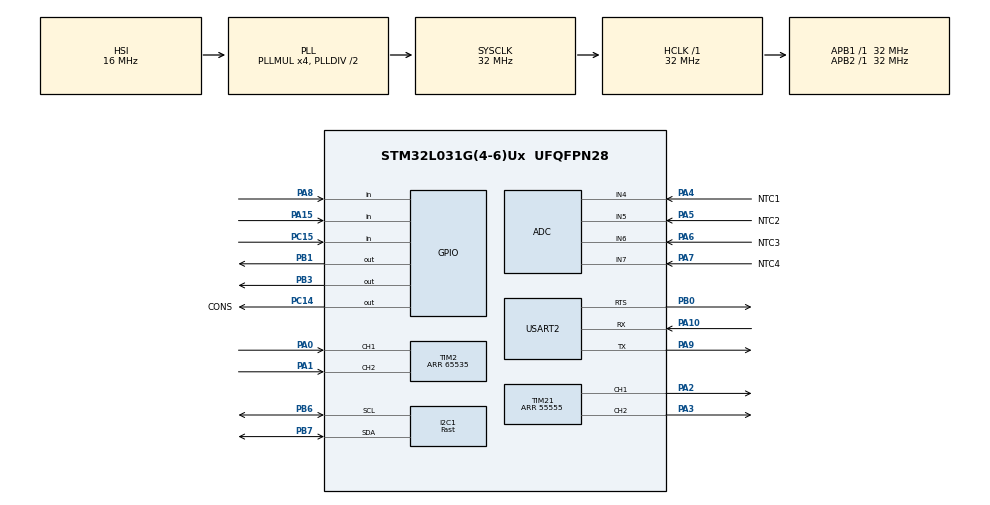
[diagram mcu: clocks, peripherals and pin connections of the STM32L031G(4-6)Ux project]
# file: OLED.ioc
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ADC.ClockPrescaler=ADC_CLOCK_ASYNC_DIV64
ADC.ContinuousConvMode=ENABLE
ADC.OversamplingMode=DISABLE
ADC.SamplingTime=ADC_SAMPLETIME_160CYCLES_5
I2C1.Analog_Filter=I2C_ANALOGFILTER_DISABLE
I2C1.I2C_Coeff_DF=0
I2C1.I2C_Rise_Time=100
I2C1.I2C_Speed_Mode=I2C_Fast
I2C1.Timing=0x00601133
Mcu.Family=STM32L0
Mcu.Name=STM32L031G(4-6)Ux
Mcu.Package=UFQFPN28
NVIC.TIM22_IRQn=true\:0\:0\:false\:false\:true\:true\:true\:true
NVIC.USART2_IRQn=true\:0\:0\:false\:false\:true\:true\:true\:true
PA0-CK_IN.GPIO_PuPd=GPIO_PULLUP
PA0-CK_IN.Signal=S_TIM2_CH1
PA1.GPIO_PuPd=GPIO_PULLUP
PA1.Signal=S_TIM2_CH2
PA10.Mode=Asynchronous
PA10.Signal=USART2_RX
PA13.Mode=Serial_Wire
PA13.Signal=SYS_SWDIO
PA14.Mode=Serial_Wire
PA14.Signal=SYS_SWCLK
PA15.GPIO_PuPd=GPIO_PULLUP
PA15.Signal=GPIO_Input
PA2.Signal=S_TIM21_CH1
PA3.Signal=S_TIM21_CH2
PA4.GPIO_Label=NTC1
PA4.Mode=IN4
PA4.Signal=ADC_IN4
PA5.GPIO_Label=NTC2
PA5.Mode=IN5
PA5.Signal=ADC_IN5
PA6.GPIO_Label=NTC3
PA6.Mode=IN6
PA6.Signal=ADC_IN6
PA7.GPIO_Label=NTC4
PA7.Mode=IN7
PA7.Signal=ADC_IN7
PA8.GPIO_PuPd=GPIO_PULLUP
PA8.Signal=GPIO_Input
PA9.Mode=Asynchronous
PA9.Signal=USART2_TX
PB0.Mode=RTS_Only
PB0.Signal=USART2_RTS
PB1.Signal=GPIO_Output
PB3.Signal=GPIO_Output
PB6.GPIO_Pu=GPIO_PULLUP
PB6.GPIO_Speed=GPIO_SPEED_FREQ_HIGH
PB6.Mode=I2C
PB6.Signal=I2C1_SCL
PB7.GPIO_Pu=GPIO_PULLUP
PB7.GPIO_Speed=GPIO_SPEED_FREQ_HIGH
PB7.Mode=I2C
PB7.Signal=I2C1_SDA
PC14-OSC32_IN.GPIO_Label=CONS
PC14-OSC32_IN.GPIO_PuPd=GPIO_PULLDOWN
PC14-OSC32_IN.Signal=GPIO_Output
PC15-OSC32_OUT.GPIO_PuPd=GPIO_PULLUP
PC15-OSC32_OUT.Signal=GPIO_Input
ProjectManager.HeapSize=0x200
ProjectManager.StackSize=0x400
ProjectManager.TargetToolchain=MDK-ARM V5
RCC.AHBFreq_Value=32000000
RCC.APB1Freq_Value=32000000
RCC.APB1TimFreq_Value=32000000
RCC.APB2Freq_Value=32000000
RCC.APB2TimFreq_Value=32000000
RCC.HCLKFreq_Value=32000000
RCC.HSE_VALUE=8000000
RCC.HSI16_VALUE=16000000
RCC.HSI_VALUE=16000000
RCC.LSE_VALUE=32768
RCC.MSIClockRange=RCC_MSIRANGE_6
RCC.MSI_VALUE=4194000
RCC.PLLMUL=RCC_PLLMUL_4
RCC.SYSCLKFreq_VALUE=32000000
RCC.SYSCLKSource=RCC_SYSCLKSOURCE_PLLCLK
RCC.VCOOutputFreq_Value=64000000
SH.S_TIM21_CH1.0=TIM21_CH1,PWM Generation1 CH1
SH.S_TIM21_CH2.0=TIM21_CH2,PWM Generation2 CH2
SH.S_TIM2_CH1.0=TIM2_CH1,Encoder_Interface
SH.S_TIM2_CH2.0=TIM2_CH2,Encoder_Interface
TIM2.AutoReloadPreload=TIM_AUTORELOAD_PRELOAD_DISABLE
TIM2.EncoderMode=TIM_ENCODERMODE_TI12
TIM2.Period=65535
TIM21.AutoReloadPreload=TIM_AUTORELOAD_PRELOAD_ENABLE
TIM21.Channel-PWM\ Generation1\ CH1=TIM_CHANNEL_1
TIM21.Channel-PWM\ Generation2\ CH2=TIM_CHANNEL_2
TIM21.Period=55555
TIM22.AutoReloadPreload=TIM_AUTORELOAD_PRELOAD_ENABLE
TIM22.Period=799
USART2.VirtualMode-Asynchronous=VM_ASYNC
VP_SYS_VS_DBSignals.Mode=DisableDeadBatterySignals
VP_SYS_VS_LPOM.Mode=PowerOptimisation
VP_TIM21_VS_ClockSourceINT.Mode=Internal
VP_TIM22_VS_ClockSourceINT.Mode=Internal
board=custom

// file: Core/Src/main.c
/* USER CODE BEGIN Header */
/* USER CODE END Header */
#include "main.h"
#include "adc.h"
#include "i2c.h"
#include "tim.h"
#include "usart.h"
#include "gpio.h"

/* USER CODE BEGIN Includes */
#include "OLED.h"
#include "ntc.h"
#include "CONS.h"
#include "MENU.h"
#include "INA226.h"
#include <math.h>
#include "link.h"
#include <string.h>
/* USER CODE END Includes */

/* USER CODE BEGIN PD */

// 风扇调速参数
#define FAN_TEMP_DIFF_START   2.2f      // 启动温差（℃）
#define FAN_DUTY_START        30        // 启动占空比（%）
#define FAN_TEMP_DIFF_MAX     8.0f      // 最大温差（占空比达 100%）
#define FAN_DUTY_MAX          100       // 最大占空比（%）

    #define STABLE_ERR_THRESHOLD   0.25f   // 允许的最大误差（℃）
    #define STABLE_RATE_THRESHOLD  0.08f   // 允许的最大变化率（℃/s）
    #define STABLE_REQUIRED_SEC    10      // 需要持续稳定的秒数
// ========== 新增 VOFA+ JustFloat 曲线数据发送间隔（毫秒） ==========
//#define CURVE_SEND_INTERVAL_MS  1000     // VOFA+上位机发送间隔，建议 50ms 或 100ms，根据实际调整

/* USER CODE END PD */

/* USER CODE BEGIN PV */

extern ADC_HandleTypeDef hadc;
extern I2C_HandleTypeDef hi2c1;

extern float current_heat_duty, current_cool_duty;

float target_temperature = 25.0f;   // 默认目标温度，上电后不自动运行，无所谓

volatile uint8_t fan_pwm_duty = 0;
float current_avg_temp = 0.0f;

extern volatile uint8_t buzzer_active;

volatile uint8_t system_stopped = 1;     // 上电后处于 STOP 状态，不输出任何功率
float current_ambient_temp = 25.0f;      // 存储最近一次读取的环境温度 (L2)

/* USER CODE END PV */

void SystemClock_Config(void);

/* USER CODE BEGIN 0 */
uint8_t MENU_IsAdjustMode(void);
float   MENU_GetAdjustTemp(void);
uint8_t MENU_GetBlinkState(void);
/* USER CODE END 0 */

int main(void)
{

  /* MCU Configuration--------------------------------------------------------*/

  /* Reset of all peripherals, Initializes the Flash interface and the Systick. */
  HAL_Init();

  /* Configure the system clock */
  SystemClock_Config();

  /* Initialize all configured peripherals */
  MX_GPIO_Init();
  MX_I2C1_Init();
  MX_ADC_Init();
  MX_TIM2_Init();
  MX_TIM21_Init();
  MX_TIM22_Init();
  MX_USART2_UART_Init();
  /* USER CODE BEGIN 2 */

  HAL_GPIO_WritePin(GPIOB, GPIO_PIN_1, GPIO_PIN_RESET);   // 初始关闭风扇
  NTC_Init();
  OLED_Init();
  CONS_Init();
  INA226_Init();
  LINK_Init();
  MENU_Init();

  HAL_TIM_Base_Start_IT(&htim22);   // 使能 TIM22 更新中断，用于风扇 PWM 和蜂鸣器

float L1_init, L2_init, L3_init, L4_init;
NTC_ReadTemperatures(&L1_init, &L2_init, &L3_init, &L4_init, 3435);
//target_temperature = (float)((int)(L2_init + 0.5f)); // 四舍五入取整

// 初始化稳定滤波温度（使用第一次读取的温度）
float avg_temp_init = (L3_init + L4_init) / 2.0f;

  HAL_Delay(100);
  /* USER CODE END 2 */

  /* Infinite loop */
  while (1)
  {

    /* USER CODE BEGIN 3 */

// 用于检测菜单调节模式下降沿
    static uint8_t last_adjust_mode = 0;
    uint8_t current_adjust_mode = MENU_IsAdjustMode();
    if (last_adjust_mode && !current_adjust_mode)
    {
        target_temperature = MENU_GetAdjustTemp();
    }
    last_adjust_mode = current_adjust_mode;

//NTC温度读取
float L1, L2, L3, L4;
NTC_ReadTemperatures(&L1, &L2, &L3, &L4, 3435);
current_ambient_temp = L2;               // 更新环境温度，供 RESET 命令使用
float avg_temp = (L3 + L4) / 2.0f;

    /* OLED 显示 */
    OLED_ShowFloatNum(80, 0, L1, 2, 1, OLED_6X8);
    OLED_ShowString(115, 0, "C", OLED_6X8);
    OLED_ShowFloatNum(80, 8, L2, 2, 1, OLED_6X8);
    OLED_ShowString(115, 8, "C", OLED_6X8);

    OLED_ShowString(0, 0, "SET:", OLED_8X16);
    if (MENU_IsAdjustMode())
    {
        if (MENU_GetBlinkState())
            OLED_ShowString(33, 0, " ", OLED_8X16);
        else
            OLED_ShowNum(33, 0, MENU_GetAdjustTemp(), 2, OLED_8X16);
    }
    else
    {
        OLED_ShowNum(33, 0, target_temperature, 2, OLED_8X16);
    }
    OLED_ShowString(57, 0, "C°", OLED_8X16);

    MENU_Process();

    // 温度控制
    CONS_TempControl(target_temperature, avg_temp, L2, L1);

    OLED_ShowFloatNum(0, 16, L3, 2, 1, OLED_8X16);
    OLED_ShowFloatNum(64, 16, L4, 2, 1, OLED_8X16);

    /* 功率显示 */
    float power = INA226_ReadPowerFiltered();
    float volt = INA226_ReadBusVoltage();
    float curr = INA226_ReadCurrent();

    OLED_ShowString(55, 48, "V", OLED_8X16);
    OLED_ShowFloatNum(0, 48, volt, 2, 2, OLED_8X16);
    OLED_ShowString(120, 48, "A:", OLED_8X16);
    OLED_ShowFloatNum(74, 48, curr, 1, 2, OLED_8X16);

    OLED_ShowString(0, 32, "PW:", OLED_8X16);
    OLED_ShowFloatNum(32, 32, power, 2, 1, OLED_8X16);
    OLED_ShowString(80, 32, "W", OLED_8X16);
    OLED_ShowNum(96, 32, fan_pwm_duty, 3, OLED_6X8);

// ==================== 稳定判断（基于真实时间，独立于循环频率） ====================
    static uint32_t stable_start_ms = 0;
    static uint8_t stable_cond_met = 0;
    static float filtered_temp_1s = 0.0f;
    static uint32_t last_rate_time = 0;
    static float last_filtered_temp = 0.0f;

    float cur_error = fabsf(avg_temp - target_temperature);
    uint32_t now_ms = HAL_GetTick();

    // 每秒更新一次温度变化率（使用一阶滤波平滑温度）
    if (now_ms - last_rate_time >= 100) {
        last_rate_time = now_ms;
        // 温度一阶滤波，时间常数约1秒
        filtered_temp_1s = 0.7f * avg_temp + 0.3f * filtered_temp_1s;
        float rate = fabsf(filtered_temp_1s - last_filtered_temp);
        last_filtered_temp = filtered_temp_1s;

        // 判断是否满足稳定条件（误差小且变化率小）
        if (cur_error < STABLE_ERR_THRESHOLD && rate < STABLE_RATE_THRESHOLD) {
            if (!stable_cond_met) {
                stable_cond_met = 1;
                stable_start_ms = now_ms;
            }
        } else {
            stable_cond_met = 0;
        }
    }

    uint8_t current_stable = 0;
    if (stable_cond_met && (now_ms - stable_start_ms) >= (STABLE_REQUIRED_SEC * 1000)) {
        current_stable = 1;
    }

    //稳定输出 + 通知
    static uint8_t prev_stable = 0;
    if (current_stable != prev_stable) {
        if (current_stable) {
            HAL_GPIO_WritePin(CONS_GPIO_Port, CONS_Pin, GPIO_PIN_SET);
            LINK_SendStable(avg_temp);
            LINK_ClearTargetChanged();
        } else {
            HAL_GPIO_WritePin(CONS_GPIO_Port, CONS_Pin, GPIO_PIN_RESET);
            if (!LINK_GetAndClearTargetChanged()) {
                LINK_SendUnstable();
            }
        }
        prev_stable = current_stable;
    }

//	/*

// ========== VOFA+ JustFloat 曲线数据发送 ==========

//VOFA+ JustFloat 曲线数据发送/调试信息发送 二选一，不要同时解除注释。
static uint32_t last_curve_send = 0;
uint32_t now_curve = HAL_GetTick();
if (now_curve - last_curve_send >= 500)//  发送速度 MS  if (now_curve - last_curve_send >= CURVE_SEND_INTERVAL_MS)
{
    last_curve_send = now_curve;

    // 修改为只需要 4 个参数：设定温度、当前温度、环境温度、散热片温度
    float curve_data[4] = {
        target_temperature,   // 设定温度
        avg_temp,             // 当前控温温度 (L3+L4平均)
        L1,                   // 环境温度
        L2                    // 散热片温度
    };

    uint8_t buffer[4*4 + 4];   // 4个float(16字节) + 4字节帧尾

    // 直接内存拷贝（STM32小端序，与JustFloat兼容）
    memcpy(buffer, curve_data, 4*4);

    // JustFloat 标准帧尾
    buffer[16] = 0x00;
    buffer[17] = 0x00;
    buffer[18] = 0x80;
    buffer[19] = 0x7F;

    HAL_UART_Transmit(&huart2, buffer, sizeof(buffer), 100);
}

	//*/

    /*

//调试信息发送

//VOFA+ JustFloat 曲线数据发送/调试信息发送 二选一，不要同时解除注释。只能使用其中一个，非调试需要只需要解除这里就够了

static uint32_t last_debug_send = 0;
if (HAL_GetTick() - last_debug_send >= 3005)//每3.005秒一次
{
    last_debug_send = HAL_GetTick();

    char dbg[128];

    snprintf(dbg, sizeof(dbg),
        "Target=%5.2fC  Current=%5.2fC  Erro=%5.2fC  "
        "HSink(L1)=%5.1fC  Amb(L2)=%5.1fC  "
        "Heat=%5.1f%%  Cool=%5.1f%%  Fan=%3d%%\r\n",
        target_temperature,
        avg_temp,                                   // 当前控温值 = L3+L4平均
        fabsf(avg_temp - target_temperature),
        L1,                                         // 环境温度
        L2,                                         // 散热片温度
        current_heat_duty,
        current_cool_duty,
        fan_pwm_duty);

    HAL_UART_Transmit(&huart2, (uint8_t*)dbg, strlen(dbg), 100);
}

  */

    // 处理串口接收数据
    UART_ProcessReceivedData();
    current_avg_temp = avg_temp;

//风扇控制
float temp_diff = fabsf(L1 - L2);
uint8_t duty = 0;
if (system_stopped) {
    duty = 0;                           // STOP 状态强制关闭风扇
} else if (temp_diff >= FAN_TEMP_DIFF_START) {
    if (temp_diff >= FAN_TEMP_DIFF_MAX) {
        duty = FAN_DUTY_MAX;
    } else {
        duty = FAN_DUTY_START + (uint8_t)(
            (temp_diff - FAN_TEMP_DIFF_START) *
            (FAN_DUTY_MAX - FAN_DUTY_START) /
            (FAN_TEMP_DIFF_MAX - FAN_TEMP_DIFF_START)
        );
    }
}
fan_pwm_duty = duty;

    OLED_Update();
    HAL_Delay(20);

  }
  /* USER CODE END 3 */
}

void SystemClock_Config(void)
{
  RCC_OscInitTypeDef RCC_OscInitStruct = {0};
  RCC_ClkInitTypeDef RCC_ClkInitStruct = {0};
  RCC_PeriphCLKInitTypeDef PeriphClkInit = {0};

  /** Configure the main internal regulator output voltage
  */
  __HAL_PWR_VOLTAGESCALING_CONFIG(PWR_REGULATOR_VOLTAGE_SCALE1);

  /** Initializes the RCC Oscillators according to the specified parameters
  * in the RCC_OscInitTypeDef structure.
  */
  RCC_OscInitStruct.OscillatorType = RCC_OSCILLATORTYPE_HSI;
  RCC_OscInitStruct.HSIState = RCC_HSI_ON;
  RCC_OscInitStruct.HSICalibrationValue = RCC_HSICALIBRATION_DEFAULT;
  RCC_OscInitStruct.PLL.PLLState = RCC_PLL_ON;
  RCC_OscInitStruct.PLL.PLLSource = RCC_PLLSOURCE_HSI;
  RCC_OscInitStruct.PLL.PLLMUL = RCC_PLLMUL_4;
  RCC_OscInitStruct.PLL.PLLDIV = RCC_PLLDIV_2;
  if (HAL_RCC_OscConfig(&RCC_OscInitStruct) != HAL_OK)
  {
    Error_Handler();
  }

  /** Initializes the CPU, AHB and APB buses clocks
  */
  RCC_ClkInitStruct.ClockType = RCC_CLOCKTYPE_HCLK|RCC_CLOCKTYPE_SYSCLK
                              |RCC_CLOCKTYPE_PCLK1|RCC_CLOCKTYPE_PCLK2;
  RCC_ClkInitStruct.SYSCLKSource = RCC_SYSCLKSOURCE_PLLCLK;
  RCC_ClkInitStruct.AHBCLKDivider = RCC_SYSCLK_DIV1;
  RCC_ClkInitStruct.APB1CLKDivider = RCC_HCLK_DIV1;
  RCC_ClkInitStruct.APB2CLKDivider = RCC_HCLK_DIV1;

  if (HAL_RCC_ClockConfig(&RCC_ClkInitStruct, FLASH_LATENCY_1) != HAL_OK)
  {
    Error_Handler();
  }
  PeriphClkInit.PeriphClockSelection = RCC_PERIPHCLK_USART2|RCC_PERIPHCLK_I2C1;
  PeriphClkInit.Usart2ClockSelection = RCC_USART2CLKSOURCE_PCLK1;
  PeriphClkInit.I2c1ClockSelection = RCC_I2C1CLKSOURCE_PCLK1;
  if (HAL_RCCEx_PeriphCLKConfig(&PeriphClkInit) != HAL_OK)
  {
    Error_Handler();
  }
}

/* USER CODE BEGIN 4 */
/**
  * @brief  Period elapsed callback in non-blocking mode
  * @param  htim TIM handle
  * @retval None
  */
void HAL_TIM_PeriodElapsedCallback(TIM_HandleTypeDef *htim)
{
    if (htim->Instance == TIM22)
    {
        static uint16_t pwm_cnt = 0;      // PWM 周期计数器 (0~99)
        static uint16_t pb3_cnt = 0;      // PB3 方波分频计数器

        // 风扇 PWM 控制 (PB1)
        pwm_cnt++;
        if (pwm_cnt >= 100) {
            pwm_cnt = 0;
            HAL_GPIO_WritePin(GPIOB, GPIO_PIN_1, GPIO_PIN_SET);
        }
        if (pwm_cnt == fan_pwm_duty && fan_pwm_duty < 100) {
            HAL_GPIO_WritePin(GPIOB, GPIO_PIN_1, GPIO_PIN_RESET);
        }

        // PB3 蜂鸣器控制（仅在 buzzer_active 时输出方波）
        if (buzzer_active) {
            pb3_cnt++;
            if (pb3_cnt >= BUZZER_FREQ_DIV) {   // 使用宏控制音调
                pb3_cnt = 0;
                HAL_GPIO_TogglePin(GPIOB, GPIO_PIN_3);
            }
        } else {
            HAL_GPIO_WritePin(GPIOB, GPIO_PIN_3, GPIO_PIN_RESET);
            pb3_cnt = 0;
        }
    }
}
/* USER CODE END 4 */

void Error_Handler(void)
{
  __disable_irq();
  while (1)
  {
  }
}
